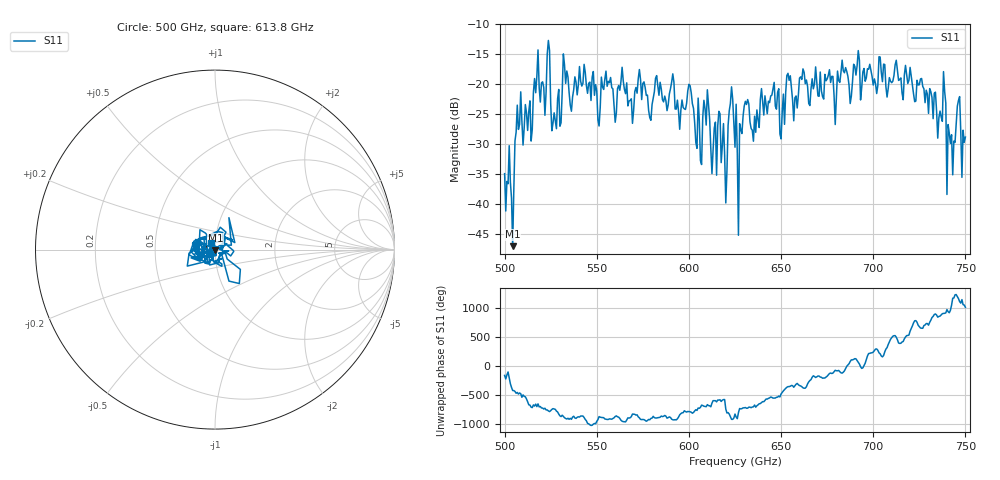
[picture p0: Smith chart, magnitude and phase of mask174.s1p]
!Created with skrf (http://scikit-rf.org).
# GHz S MA R 50.0
!freq magS11 angS11
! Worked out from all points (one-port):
!   401 points, 500 GHz to 750 GHz, reference 50 ohm
!   lowest |S11| = -47.0 dB at 504.4 GHz (marker M1), VSWR 1.01, Z = 50.2 - j0.395 ohm
!   |S11| at or under -10 dB: start of sweep to end of sweep
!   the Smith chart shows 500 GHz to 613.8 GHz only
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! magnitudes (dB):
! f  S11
! 500 GHz  -34.9
! 504.4 GHz  -47.0
! 507.5 GHz  -27.5
! 513.8 GHz  -22.8
! 516.9 GHz  -21.4
! 523.8 GHz  -12.7
! 526.9 GHz  -24.8
! 531.2 GHz  -21.3
! 562.5 GHz  -21.0
! 579.4 GHz  -26.0
! 590.6 GHz  -19.6
! 593.8 GHz  -22.6
! 600.6 GHz  -20.2
! 605.6 GHz  -26.0
! 609.4 GHz  -26.8
! 619.4 GHz  -31.7
! 622.5 GHz  -23.2
! 625 GHz  -30.5
! 627.5 GHz  -26.6
! 631.2 GHz  -23.4
! 635 GHz  -29.5
! 656.2 GHz  -22.6
! 687.5 GHz  -23.2
! 718.8 GHz  -19.9
! 738.1 GHz  -17.9
! 741.2 GHz  -28.1
! 746.2 GHz  -22.7
! 750 GHz  -28.8
